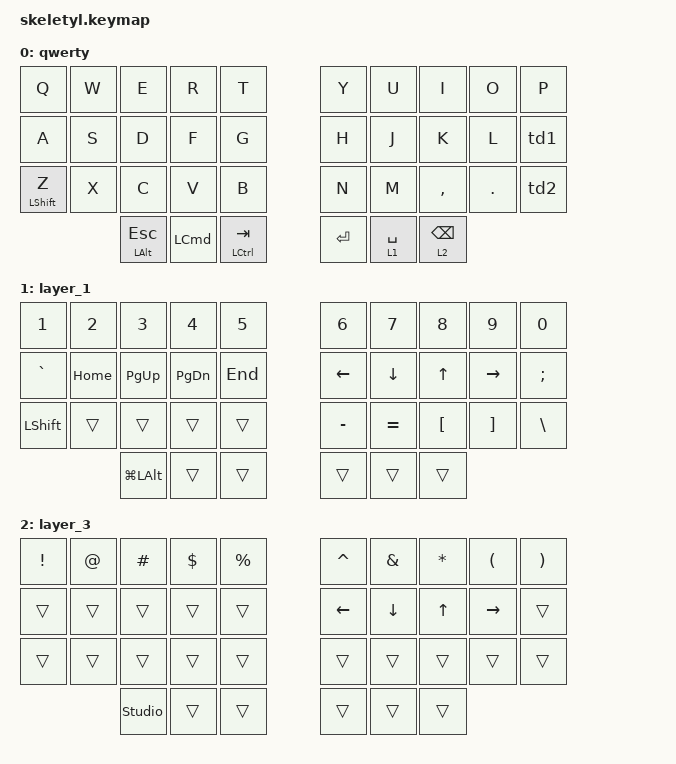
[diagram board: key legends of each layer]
#include <behaviors.dtsi>
#include <dt-bindings/zmk/bt.h>
#include <dt-bindings/zmk/keys.h>
#include <dt-bindings/zmk/outputs.h>

// Modified keymap based on personal experience, with some improvements based on Miryoku layout.

#define QWERTY  0
#define COLDH   1
#define NAV     2
#define NUM     3
#define PRGRM   4
#define FUN     5
#define ILLUST  6
#define GAME    7

/ {
    behaviors {
        as: auto_shift {
            compatible = "zmk,behavior-hold-tap";
            label = "AUTO_SHIFT";
            #binding-cells = <2>;
            tapping-term-ms = <135>;
            quick-tap-ms = <0>;
            flavor = "tap-preferred";
            bindings = <&kp>, <&kp>;
        };

        hm: homerow_mods {
            compatible = "zmk,behavior-hold-tap";
            label = "HOMEROW_MODS";
            #binding-cells = <2>;
            tapping-term-ms = <175>;
            quick-tap-ms = <0>;
            flavor = "tap-preferred";
            bindings = <&kp>, <&kp>;
        };

        hmp: homerow_mods_pinky {
            compatible = "zmk,behavior-hold-tap";
            label = "HOMEROW_MODS";
            #binding-cells = <2>;
            tapping-term-ms = <200>;
            quick-tap-ms = <0>;
            flavor = "tap-preferred";
            bindings = <&kp>, <&kp>;
        };

        td0: td0 {
            compatible = "zmk,behavior-tap-dance";
            label = "TD0";
            #binding-cells = <0>;
            tapping-term-ms = <200>;
            bindings = <&kp A>, <&kp ESCAPE>;
        };

        htdance: htdance {
            compatible = "zmk,behavior-hold-tap";
            label = "HTDANCE";
            bindings = <&kp>, <&td0>;

            #binding-cells = <2>;
            tapping-term-ms = <400>;
            flavor = "tap-preferred";
        };

        htsl: htsl {
            compatible = "zmk,behavior-hold-tap";
            label = "HTSL";
            bindings = <&lt>, <&sk>;

            #binding-cells = <2>;
            tapping-term-ms = <400>;
        };

        td1: td1 {
            compatible = "zmk,behavior-tap-dance";
            label = "TD1";
            #binding-cells = <0>;
            tapping-term-ms = <200>;
            bindings = <&kp SQT>, <&kp COLON>;
        };

        td2: td2 {
            compatible = "zmk,behavior-tap-dance";
            label = "TD2";
            #binding-cells = <0>;
            tapping-term-ms = <200>;
            bindings = <&mt RIGHT_SHIFT SLASH>, <&kp PIPE>;
        };
    };

    combos {
        compatible = "zmk,combos";

        // Combos for media player.
        // I often switch songs while drawing, so I assign the
        // combos on left hand side.

        combo_med_next {
            timeout-ms = <50>;
            key-positions = <2 3>;
            bindings = <&kp C_NEXT>;
        };

        combo_med_prev {
            timeout-ms = <50>;
            key-positions = <1 2>;
            bindings = <&kp C_PREV>;
        };

        combo_med_pp {
            timeout-ms = <50>;
            key-positions = <1 4>;
            bindings = <&kp C_PP>;
        };

        combo_med_stop {
            timeout-ms = <50>;
            key-positions = <1 3>;
            bindings = <&kp C_STOP>;
        };

        combo_med_vol_up {
            timeout-ms = <50>;
            key-positions = <2 13>;
            bindings = <&kp C_VOL_UP>;
        };

        combo_med_vol_dn {
            timeout-ms = <50>;
            key-positions = <3 12>;
            bindings = <&kp C_VOL_DN>;
        };

        combo_med_mute {
            timeout-ms = <50>;
            key-positions = <12 14>;
            bindings = <&kp C_MUTE>;
        };

        // combo for toggling illust layer

        combo_tg_illust {
            timeout-ms = <50>;
            key-positions = <21 22 23>;
            bindings = <&tog 0>;
        };

        // Combo for toggling the Colemak layout

        combo_tg_colemak {
            timeout-ms = <50>;
            key-positions = <6 7 8>;
            bindings = <&tog 0>;
        };

        // Combo for toggling minimal game layout

        combo_tg_game {
            timeout-ms = <50>;
            key-positions = <7 8>;
            bindings = <&tog 0>;
        };

        // Combo for bluetooth control
        // (i.e. switch among the devices).

        combo_bt_next {
            timeout-ms = <50>;
            key-positions = <27 28>;
            bindings = <&bt BT_NXT>;
        };

        combo_bt_prev {
            timeout-ms = <50>;
            key-positions = <26 27>;
            bindings = <&bt BT_PRV>;
        };

        combo_bt_clr {
            timeout-ms = <50>;
            key-positions = <0 9>;
            bindings = <&bt BT_CLR>;
        };

        combo_bt_out_tog {
            timeout-ms = <50>;
            key-positions = <4 5>;
            bindings = <&out OUT_TOG>;
        };
    };

    macros {
        new_macro: new_macro {
            compatible = "zmk,behavior-macro";
            #binding-cells = <0>;
            bindings = <&none>;
            label = "NEW_MACRO";
        };
    };

    keymap {
        compatible = "zmk,keymap";

        qwerty {
            bindings = <
  &kp Q             &kp W  &kp E                &kp R             &kp T            &kp Y      &kp U        &kp I            &kp O       &kp P
  &kp A             &kp S  &kp D                &kp F             &kp G            &kp H      &kp J        &kp K            &kp L       &td1
  &mt LEFT_SHIFT Z  &kp X  &kp C                &kp V             &kp B            &kp N      &kp M        &kp COMMA        &kp PERIOD  &td2
                           &mt LEFT_ALT ESCAPE  &kp LEFT_COMMAND  &mt LCTRL TAB    &kp ENTER  &lt 1 SPACE  &lt 2 BACKSPACE
            >;
        };

        layer_1 {
            bindings = <
  &kp N1          &kp N2    &kp N3            &kp N4         &kp N5     &kp N6          &kp N7          &kp N8            &kp N9             &kp N0
  &kp GRAVE       &kp HOME  &kp PAGE_UP       &kp PAGE_DOWN  &kp END    &kp LEFT_ARROW  &kp DOWN_ARROW  &kp UP_ARROW      &kp RIGHT          &kp SEMICOLON
  &kp LEFT_SHIFT  &trans    &trans            &trans         &trans     &kp MINUS       &kp EQUAL       &kp LEFT_BRACKET  &kp RIGHT_BRACKET  &kp BACKSLASH
                            &kp LG(LEFT_ALT)  &trans         &trans     &trans          &trans          &trans
            >;
        };

        layer_3 {
            bindings = <
  &kp EXCLAMATION  &kp AT_SIGN  &kp POUND       &kp DOLLAR  &kp PERCENT    &kp CARET  &kp AMPERSAND  &kp ASTERISK  &kp LEFT_PARENTHESIS  &kp RIGHT_PARENTHESIS
  &trans           &trans       &trans          &trans      &trans         &kp LEFT   &kp DOWN       &kp UP        &kp RIGHT             &trans
  &trans           &trans       &trans          &trans      &trans         &trans     &trans         &trans        &trans                &trans
                                &studio_unlock  &trans      &trans         &trans     &trans         &trans
            >;
        };
    };
};
